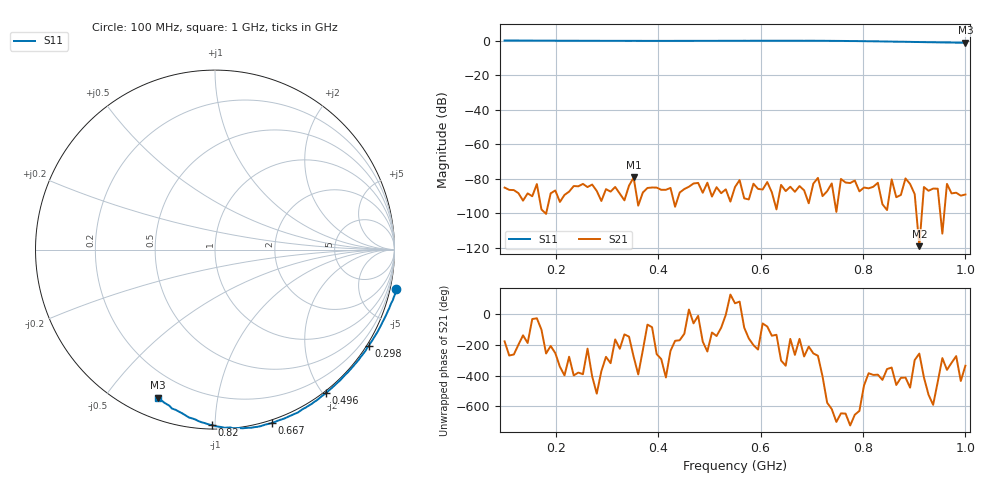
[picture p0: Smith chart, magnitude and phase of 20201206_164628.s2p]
# HZ S RI R 50
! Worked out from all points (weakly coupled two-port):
!   101 points, 100 MHz to 1 GHz, reference 50 ohm
!   highest |S21| = -79.27 dB at 352 MHz (marker M1); lowest = -119.1 dB at 910 MHz (marker M2)
!   lowest |S11| = -1.1 dB at 1 GHz (marker M3), VSWR 16.29, Z = 4.5 - j34.1 ohm
!   |S11| at or under -10 dB: nowhere
!   S12 and S22 are empty: the file has one direction only
!   S11 on the Smith chart (normalised r, x): 100 MHz: -1.34, -9.14; 298 MHz: -0.07, -3.49; 496 MHz: -0.03, -2.04; 667 MHz: -0.02, -1.38; 820 MHz: 0.02, -0.98; 1 GHz: 0.09, -0.68
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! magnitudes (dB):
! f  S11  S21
! 100 MHz  0.3  -85.1
! 109 MHz  0.3  -86.5
! 253 MHz  0.1  -83.0
! 298 MHz  0.1  -86.1
! 343 MHz  0.1  -84.0
! 352 MHz  0.1  -79.3
! 361 MHz  0.1  -95.6
! 406 MHz  0.1  -86.4
! 496 MHz  0.1  -82.3
! 550 MHz  0.1  -84.8
! 667 MHz  0.1  -87.6
! 703 MHz  0.1  -82.8
! 712 MHz  0.1  -79.5
! 721 MHz  0.1  -90.1
! 784 MHz  -0.1  -81.0
! 820 MHz  -0.2  -84.7
! 856 MHz  -0.4  -80.4
! 874 MHz  -0.4  -89.4
! 883 MHz  -0.5  -79.8
! 892 MHz  -0.5  -83.0
! 910 MHz  -0.6  -119.1
! 1 GHz  -1.1  -89.1
